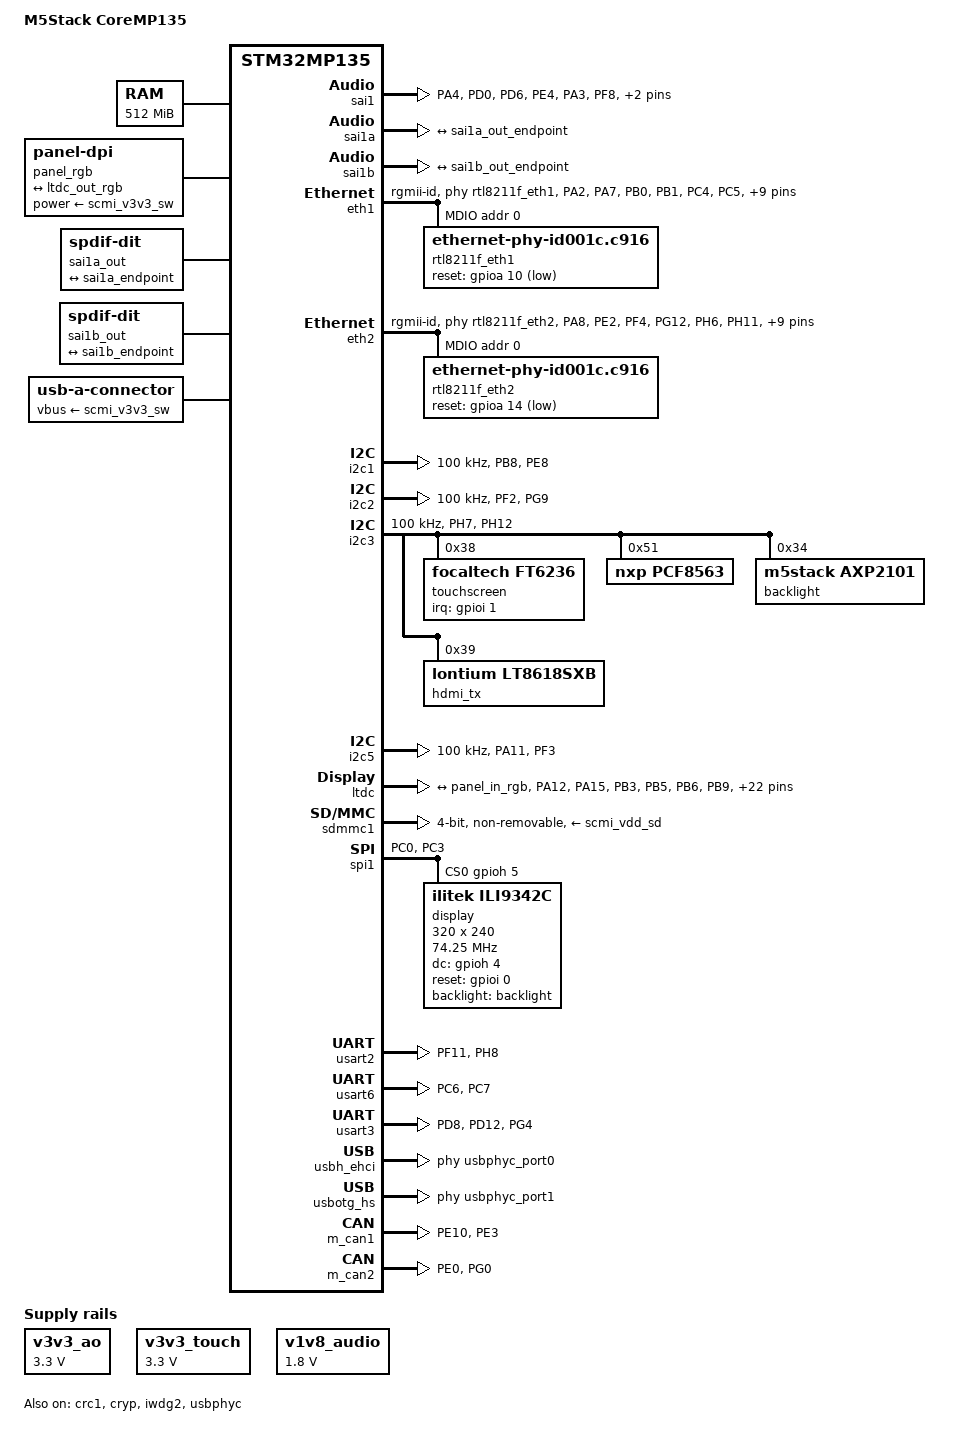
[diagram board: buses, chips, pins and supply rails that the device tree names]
// SPDX-License-Identifier: (GPL-2.0+ OR BSD-3-Clause)
/*
 * Copyright (C) STMicroelectronics 2021 - All Rights Reserved
 * Author: Alexandre Torgue <alexandre.torgue@foss.st.com> for STMicroelectronics.
 */

/dts-v1/;

#include <dt-bindings/gpio/gpio.h>
#include <dt-bindings/input/input.h>
#include <dt-bindings/leds/common.h>
#include <dt-bindings/regulator/st,stm32mp13-regulator.h>
#include "stm32mp135.dtsi"
#include "stm32mp13xf.dtsi"
#include "stm32mp13-pinctrl.dtsi"

/ {
	model = "M5Stack CoreMP135";
	compatible = "st,stm32mp135f-dk", "st,stm32mp135";

	aliases {
		ethernet0 = &eth1;
		ethernet1 = &eth2;
		serial0 = &usart2; // internal uart
		serial1 = &usart6; // grove port c
		serial2 = &usart3; // rs485

		i2c0 = &i2c3;
		i2c1 = &i2c5;

		i2c2 = &i2c1;
		i2c3 = &i2c2;
	};

	chosen {
		stdout-path = "serial0:115200n8";
		#address-cells = <1>;
		#size-cells = <1>;
		ranges;
	};

	clocks {
	};

	memory@c0000000 {
		device_type = "memory";
		reg = <0xc0000000 0x20000000>;
	};

	reserved-memory {
		#address-cells = <1>;
		#size-cells = <1>;
		ranges;

		optee@dd000000 {
			reg = <0xdd000000 0x3000000>;
			no-map;
		};
	};

	panel_rgb: panel-rgb {
		compatible = "panel-dpi";
		power-supply = <&scmi_v3v3_sw>;
		data-mapping = "rgb24";
		status = "okay";
		// 1920×1080
		width-mm = <320>;
		height-mm = <180>;

		power-domains = <&hdmi_tx>;
		power-domain-names = "hdmi_tx";

		port {
			panel_in_rgb: endpoint {
				remote-endpoint = <&ltdc_out_rgb>;
			};
		};

		// CEA-861: https://tomverbeure.github.io/video_timings_calculator
		panel-timing {
			clock-frequency = <74250000>;
			hactive = <1280>;
			vactive = <720>;
			hsync-len = <40>;
			hfront-porch = <110>;
			hback-porch = <220>;
			vsync-len = <5>;
			vfront-porch = <5>;
			vback-porch = <20>;

			hsync-active = <1>;
			vsync-active = <1>;

			de-active = <1>;
			pixelclk-active = <1>;
		};
	};

	v3v3_ao: v3v3-ao {
		compatible = "regulator-fixed";
		regulator-name = "v3v3_ao";
		regulator-min-microvolt = <3300000>;
		regulator-max-microvolt = <3300000>;
		regulator-always-on;
	};

	v3v3_touch: v3v3_touch {
		compatible = "regulator-fixed";
		regulator-name = "v3v3";
		regulator-min-microvolt = <3300000>;
		regulator-max-microvolt = <3300000>;
		regulator-always-on;
	};

	v1v8_audio: regulator-v1v8_audio {
		compatible = "regulator-fixed";
		regulator-name = "v1v8_audio";
		regulator-min-microvolt = <1800000>;
		regulator-max-microvolt = <1800000>;
		regulator-always-on;
		regulator-boot-on;
	};

	sai1a_sound {
		compatible = "audio-graph-card";
		label = "Internal Speaker";
		dais = <&sai1a_port>;
	};

	sai1b_sound {
		compatible = "audio-graph-card";
		label = "HDMI Audio";
		dais = <&sai1b_port>;
	};

	sai1a_out: spdif-out0 {
		compatible = "linux,spdif-dit";

		sai1a_out_port: port@0 {
			sai1a_out_endpoint: endpoint {
				remote-endpoint = <&sai1a_endpoint>;
			};
		};
	};

	sai1b_out: spdif-out1 {
		compatible = "linux,spdif-dit";

		sai1b_out_port: port@0 {
			sai1b_out_endpoint: endpoint {
				remote-endpoint = <&sai1b_endpoint>;
			};
		};
	};
};

&sai1 {
	clocks = <&rcc SAI1>, <&scmi_clk CK_SCMI_PLL3_Q>, <&scmi_clk CK_SCMI_PLL3_R>;
	clock-names = "pclk", "x8k", "x11k";

	assigned-clock-rates = <24576000>;

	pinctrl-names = "default", "sleep";
	pinctrl-0 = <&sai1a_pins_mx>, <&sai1b_pins_mx>;
	pinctrl-1 = <&sai1a_sleep_pins_mx>, <&sai1b_sleep_pins_mx>;
	status = "okay";
};

&sai1a {
	#clock-cells = <0>;
	dma-names = "tx";
	status = "okay";

	sai1a_port: port@0 {
		sai1a_endpoint: endpoint {
			format = "i2s";
			remote-endpoint = <&sai1a_out_endpoint>;
		};
	};
};

&sai1b {
	#clock-cells = <0>;
	dma-names = "tx";
	status = "okay";

	sai1b_port: port@0 {
		sai1b_endpoint: endpoint {
			format = "i2s";
			remote-endpoint = <&sai1b_out_endpoint>;
		};
	};
};

&crc1 {
	status = "okay";
};

&cryp {
	status = "okay";
};

&eth1 {
	status = "okay";
	pinctrl-0 = <&eth1_pins_mx>;
	pinctrl-1 = <&eth1_sleep_pins_mx>;
	pinctrl-names = "default", "sleep";
	phy-mode = "rgmii-id";
	max-speed = <1000>;
	nvmem-cells = <&ethernet_mac1_address>;
	nvmem-cell-names = "mac-address";
	phy-handle = <&rtl8211f_eth1>;

	mdio1 {
		#address-cells = <1>;
		#size-cells = <0>;
		compatible = "snps,dwmac-mdio";
		rtl8211f_eth1: ethernet-phy@0 {
			compatible = "ethernet-phy-id001c.c916";
			reg = <0>;
			reset-assert-us = <10000>;
			reset-deassert-us = <30000>;
			reset-gpios = <&gpioa 10 GPIO_ACTIVE_LOW>;
		};
	};
};

&eth2 {
	status = "okay";
	pinctrl-0 = <&eth2_pins_mx>;
	pinctrl-1 = <&eth2_sleep_pins_mx>;
	pinctrl-names = "default", "sleep";
	phy-mode = "rgmii-id";
	max-speed = <1000>;
	phy-handle = <&rtl8211f_eth2>;
	nvmem-cells = <&ethernet_mac2_address>;
	nvmem-cell-names = "mac-address";

	mdio1 {
		#address-cells = <1>;
		#size-cells = <0>;
		compatible = "snps,dwmac-mdio";

		rtl8211f_eth2: ethernet-phy@0 {
			compatible = "ethernet-phy-id001c.c916";
			reg = <0>;
			reset-assert-us = <10000>;
			reset-deassert-us = <30000>;
			reset-gpios = <&gpioa 14 GPIO_ACTIVE_LOW>;
		};
	};
};

// bus i2c1
&i2c1 {
	pinctrl-names = "default", "sleep";
	pinctrl-0 = <&i2c1_pins_mx>;
	pinctrl-1 = <&i2c1_sleep_pins_mx>;
	// i2c-scl-rising-time-ns = <96>;
	// i2c-scl-falling-time-ns = <3>;
	clock-frequency = <100000>;
	status = "okay";
	/* spare dmas for other usage */
	/delete-property/dmas;
	/delete-property/dma-names;
};

// bus i2c2
&i2c2 {
	pinctrl-names = "default", "sleep";
	pinctrl-0 = <&i2c2_pins_mx>;
	pinctrl-1 = <&i2c2_sleep_pins_mx>;
	clock-frequency = <100000>;
	status = "okay";

	/* spare dmas for other usage */
	/delete-property/dmas;
	/delete-property/dma-names;

};

// interior i2c
&i2c3 {
	pinctrl-names = "default", "sleep";
	pinctrl-0 = <&i2c3_pins_mx>;
	pinctrl-1 = <&i2c3_sleep_pins_mx>;
	clock-frequency = <100000>;
	status = "okay";
	// /* spare dmas for other usage */
	/delete-property/dmas;
	/delete-property/dma-names;
	touchscreen@38 {
			compatible = "focaltech,ft6236";
			reg = <0x38>;
			interrupt-parent = <&gpioi>;
			interrupts = <1 IRQ_TYPE_EDGE_FALLING>;
			touchscreen-size-x = <240>;
			touchscreen-size-y = <320>;
			status = "okay";
	};

	pcf8563@51 {
		compatible = "nxp,pcf8563";
		reg = <0x51>;
		status = "okay";
	};

	backlight@34 {
		compatible = "m5stack,axp2101";
		reg = <0x34>;
		status = "okay";
	};

	hdmi_tx: lt8618sxb@39 {
		#power-domain-cells = <0>;
		compatible = "lontium,lt8618sxb";
		reg = <0x39>;
		status = "okay";
	};
};

//enclosure i2c
&i2c5 {
	pinctrl-names = "default", "sleep";
	pinctrl-0 = <&i2c5_pins_mx>;
	pinctrl-1 = <&i2c5_sleep_pins_mx>;
	clock-frequency = <100000>;
	status = "okay";
	/* spare dmas for other usage */
	/delete-property/dmas;
	/delete-property/dma-names;
};

&iwdg2 {
	timeout-sec = <32>;
	status = "okay";
};

&ltdc {
	pinctrl-names = "default", "sleep";
	pinctrl-0 = <&ltdc_pins_mx>;
	pinctrl-1 = <&ltdc_sleep_pins_mx>;
	status = "okay";

	port {
		#address-cells = <1>;
		#size-cells = <0>;

		ltdc_out_rgb: endpoint@0 {
			reg = <0>;
			remote-endpoint = <&panel_in_rgb>;
		};
	};
};

&scmi_regu {
	scmi_vdd_usb: voltd-vdd-usb {
		reg = <VOLTD_SCMI_STPMIC1_LDO4>;
		regulator-name = "vdd_usb";
	};
	scmi_vdd_sd: voltd-vdd-sd {
		reg = <VOLTD_SCMI_STPMIC1_LDO5>;
		regulator-name = "vdd_sd";
	};
	scmi_v3v3_sw: voltd-v3v3-sw {
		reg = <VOLTD_SCMI_STPMIC1_PWR_SW2>;
		regulator-name = "v3v3_sw";
	};
};

&sdmmc1 {
	pinctrl-names = "default", "opendrain", "sleep";
	pinctrl-0 = <&sdmmc1_b4_pins_a &sdmmc1_clk_pins_a>;
	pinctrl-1 = <&sdmmc1_b4_od_pins_a &sdmmc1_clk_pins_a>;
	pinctrl-2 = <&sdmmc1_b4_sleep_pins_a>;
	non-removable;
	disable-wp;
	st,neg-edge;
	bus-width = <4>;
	vmmc-supply = <&scmi_vdd_sd>;
	status = "okay";
};

&spi1 {
	pinctrl-names = "default", "sleep";
	pinctrl-0 = <&spi1_pins_mx>;
	pinctrl-1 = <&spi1_sleep_pins_mx>;
	num-cs = <1>;
	cs-gpios = <&gpioh 5 GPIO_ACTIVE_HIGH>;
	status = "okay";

	display@0 {
		compatible = "ilitek,ili9342c";
		reg = <0>;
		dc-gpios = <&gpioh 4 GPIO_ACTIVE_HIGH>;
		reset-gpios = <&gpioi 0 GPIO_ACTIVE_HIGH>;
		spi-max-frequency = <74250000>;

		rotate = <0>;
		buswidth = <8>;
		width = <320>;
		height = <240>;

		backlight = <&backlight>;

		status = "okay";
	};
};

// internal uart
&usart2 {
	pinctrl-names = "default", "sleep";
	pinctrl-0 = <&usart2_pins_mx>;
	pinctrl-1 = <&usart2_sleep_pins_mx>;
	status = "okay";
};

// grove port c
&usart6 {
	pinctrl-names = "default", "sleep";
	pinctrl-0 = <&usart6_pins_mx>;
	pinctrl-1 = <&usart6_sleep_pins_mx>;
	/delete-property/dmas;
	/delete-property/dma-names;
	rx-tx-swap;
	status = "okay";
};

// rs485
&usart3 {
	/delete-property/dmas;
	/delete-property/dma-names;
	pinctrl-names = "default", "sleep";
	pinctrl-0 = <&usart3_pins_mx>;
	pinctrl-1 = <&usart3_sleep_pins_mx>;
	rts-gpios;
	linux,rs485-enabled-at-boot-time;
	status = "okay";
};

&usbh_ehci {
	phys = <&usbphyc_port0>;
	status = "okay";
};

&usbotg_hs {
	phys = <&usbphyc_port1 0>;
	phy-names = "usb2-phy";
	usb-role-switch;
	status = "okay";
};

&usbphyc {
	status = "okay";
};

&usbphyc_port0 {
	phy-supply = <&scmi_vdd_usb>;
	st,current-boost-microamp = <1000>;
	st,decrease-hs-slew-rate;
	st,tune-hs-dc-level = <2>;
	st,enable-hs-rftime-reduction;
	st,trim-hs-current = <11>;
	st,trim-hs-impedance = <2>;
	st,tune-squelch-level = <1>;
	st,enable-hs-rx-gain-eq;
	st,no-hs-ftime-ctrl;
	st,no-lsfs-sc;

	/*
	 * Hack to keep hub active if wakeup source is enabled
	 * otherwise the hub will wakeup the port0 as soon as the v3v3_sw is disabled
	 */
	connector {
		compatible = "usb-a-connector";
		vbus-supply = <&scmi_v3v3_sw>;
	};
};

&usbphyc_port1 {
	phy-supply = <&scmi_vdd_usb>;
	st,current-boost-microamp = <1000>;
	st,decrease-hs-slew-rate;
	st,tune-hs-dc-level = <2>;
	st,enable-hs-rftime-reduction;
	st,trim-hs-current = <11>;
	st,trim-hs-impedance = <2>;
	st,tune-squelch-level = <1>;
	st,enable-hs-rx-gain-eq;
	st,no-hs-ftime-ctrl;
	st,no-lsfs-sc;
};

&m_can1 {
	pinctrl-names = "default", "sleep";
	pinctrl-0 = <&fdcan1_pins_mx>;
	pinctrl-1 = <&fdcan1_sleep_pins_mx>;
	status = "okay";
};

&m_can2 {
	pinctrl-names = "default", "sleep";
	pinctrl-0 = <&fdcan2_pins_mx>;
	pinctrl-1 = <&fdcan2_sleep_pins_mx>;
	status = "okay";
};

&pinctrl {
	eth1_pins_mx: eth1_mx-0 {
		pins1 {
			pinmux = <STM32_PINMUX('A', 2, AF11)>; /* ETH1_MDIO */
			bias-disable;
			drive-push-pull;
			slew-rate = <0>;
		};
		pins2 {
			pinmux = <STM32_PINMUX('A', 7, AF11)>, /* ETH1_RX_CTL */
					 <STM32_PINMUX('B', 0, AF11)>, /* ETH1_RXD2 */
					 <STM32_PINMUX('B', 1, AF11)>, /* ETH1_RXD3 */
					 <STM32_PINMUX('C', 4, AF11)>, /* ETH1_RXD0 */
					 <STM32_PINMUX('C', 5, AF11)>, /* ETH1_RXD1 */
					 <STM32_PINMUX('D', 7, AF10)>; /* ETH1_RX_CLK */
			bias-disable;
		};
		pins3 {
			pinmux = <STM32_PINMUX('B', 11, AF11)>, /* ETH1_TX_CTL */
					 <STM32_PINMUX('C', 1, AF11)>, /* ETH1_GTX_CLK */
					 <STM32_PINMUX('C', 2, AF11)>, /* ETH1_TXD2 */
					 <STM32_PINMUX('E', 5, AF10)>, /* ETH1_TXD3 */
					 <STM32_PINMUX('G', 2, AF11)>, /* ETH1_MDC */
					 <STM32_PINMUX('F', 12, AF11)>, /* ETH1_CLK125 */
					 <STM32_PINMUX('G', 13, AF11)>, /* ETH1_TXD0 */
					 <STM32_PINMUX('G', 14, AF11)>; /* ETH1_TXD1 */
			bias-disable;
			drive-push-pull;
			slew-rate = <2>;
		};
	};

	eth1_sleep_pins_mx: eth1_sleep_mx-0 {
		pins {
			pinmux = <STM32_PINMUX('A', 2, ANALOG)>, /* ETH1_MDIO */
					 <STM32_PINMUX('A', 7, ANALOG)>, /* ETH1_RX_CTL */
					 <STM32_PINMUX('B', 0, ANALOG)>, /* ETH1_RXD2 */
					 <STM32_PINMUX('B', 1, ANALOG)>, /* ETH1_RXD3 */
					 <STM32_PINMUX('B', 11, ANALOG)>, /* ETH1_TX_CTL */
					 <STM32_PINMUX('C', 1, ANALOG)>, /* ETH1_GTX_CLK */
					 <STM32_PINMUX('C', 2, ANALOG)>, /* ETH1_TXD2 */
					 <STM32_PINMUX('C', 4, ANALOG)>, /* ETH1_RXD0 */
					 <STM32_PINMUX('C', 5, ANALOG)>, /* ETH1_RXD1 */
					 <STM32_PINMUX('D', 7, ANALOG)>, /* ETH1_RX_CLK */
					 <STM32_PINMUX('E', 5, ANALOG)>, /* ETH1_TXD3 */
					 <STM32_PINMUX('G', 2, ANALOG)>, /* ETH1_MDC */
					 <STM32_PINMUX('F', 12, ANALOG)>, /* ETH1_CLK125 */
					 <STM32_PINMUX('G', 13, ANALOG)>, /* ETH1_TXD0 */
					 <STM32_PINMUX('G', 14, ANALOG)>; /* ETH1_TXD1 */
		};
	};

	eth2_pins_mx: eth2_mx-0 {
		pins1 {
			pinmux = <STM32_PINMUX('A', 8, AF11)>, /* ETH2_RXD3 */
					 <STM32_PINMUX('E', 2, AF10)>, /* ETH2_RXD1 */
					 <STM32_PINMUX('F', 4, AF11)>, /* ETH2_RXD0 */
					 <STM32_PINMUX('G', 12, AF12)>, /* ETH2_RX_CTL */
					 <STM32_PINMUX('H', 6, AF12)>, /* ETH2_RXD2 */
					 <STM32_PINMUX('H', 11, AF11)>; /* ETH2_RX_CLK */
			bias-disable;
		};
		pins2 {
			pinmux = <STM32_PINMUX('B', 2, AF11)>; /* ETH2_MDIO */
			bias-disable;
			drive-push-pull;
			slew-rate = <0>;
		};
		pins3 {
			pinmux = <STM32_PINMUX('E', 6, AF11)>, /* ETH2_TXD3 */
					 <STM32_PINMUX('F', 6, AF11)>, /* ETH2_TX_CTL */
					 <STM32_PINMUX('F', 7, AF11)>, /* ETH2_TXD0 */
					 <STM32_PINMUX('G', 1, AF10)>, /* ETH2_TXD2 */
					 <STM32_PINMUX('G', 3, AF10)>, /* ETH2_GTX_CLK */
					 <STM32_PINMUX('G', 5, AF10)>, /* ETH2_MDC */
					 <STM32_PINMUX('G', 11, AF10)>, /* ETH2_TXD1 */
					 <STM32_PINMUX('H', 2, AF13)>; /* ETH2_CLK125 */
			bias-disable;
			drive-push-pull;
			slew-rate = <2>;
		};
	};

	eth2_sleep_pins_mx: eth2_sleep_mx-0 {
		pins {
			pinmux = <STM32_PINMUX('A', 8, ANALOG)>, /* ETH2_RXD3 */
					 <STM32_PINMUX('B', 2, ANALOG)>, /* ETH2_MDIO */
					 <STM32_PINMUX('E', 2, ANALOG)>, /* ETH2_RXD1 */
					 <STM32_PINMUX('E', 6, ANALOG)>, /* ETH2_TXD3 */
					 <STM32_PINMUX('F', 4, ANALOG)>, /* ETH2_RXD0 */
					 <STM32_PINMUX('F', 6, ANALOG)>, /* ETH2_TX_CTL */
					 <STM32_PINMUX('F', 7, ANALOG)>, /* ETH2_TXD0 */
					 <STM32_PINMUX('G', 1, ANALOG)>, /* ETH2_TXD2 */
					 <STM32_PINMUX('G', 3, ANALOG)>, /* ETH2_GTX_CLK */
					 <STM32_PINMUX('G', 5, ANALOG)>, /* ETH2_MDC */
					 <STM32_PINMUX('H', 2, ANALOG)>, /* ETH2_CLK125 */
					 <STM32_PINMUX('G', 11, ANALOG)>, /* ETH2_TXD1 */
					 <STM32_PINMUX('G', 12, ANALOG)>, /* ETH2_RX_CTL */
					 <STM32_PINMUX('H', 6, ANALOG)>, /* ETH2_RXD2 */
					 <STM32_PINMUX('H', 11, ANALOG)>; /* ETH2_RX_CLK */
		};
	};

	fdcan1_pins_mx: fdcan1_mx-0 {
		pins1 {
			pinmux = <STM32_PINMUX('E', 10, AF9)>; /* FDCAN1_TX */
			bias-disable;
			drive-push-pull;
			slew-rate = <0>;
		};
		pins2 {
			pinmux = <STM32_PINMUX('E', 3, AF9)>; /* FDCAN1_RX */
			bias-disable;
		};
	};

	fdcan1_sleep_pins_mx: fdcan1_sleep_mx-0 {
		pins {
			pinmux = <STM32_PINMUX('E', 3, ANALOG)>, /* FDCAN1_RX */
					 <STM32_PINMUX('E', 10, ANALOG)>; /* FDCAN1_TX */
		};
	};

	fdcan2_pins_mx: fdcan2_mx-0 {
		pins1 {
			pinmux = <STM32_PINMUX('E', 0, AF9)>; /* FDCAN2_RX */
			bias-disable;
		};
		pins2 {
			pinmux = <STM32_PINMUX('G', 0, AF9)>; /* FDCAN2_TX */
			bias-disable;
			drive-push-pull;
			slew-rate = <0>;
		};
	};

	fdcan2_sleep_pins_mx: fdcan2_sleep_mx-0 {
		pins {
			pinmux = <STM32_PINMUX('E', 0, ANALOG)>, /* FDCAN2_RX */
					 <STM32_PINMUX('G', 0, ANALOG)>; /* FDCAN2_TX */
		};
	};

	i2c1_pins_mx: i2c1_mx-0 {
		pins {
			pinmux = <STM32_PINMUX('B', 8, AF4)>, /* I2C1_SCL */
					 <STM32_PINMUX('E', 8, AF5)>; /* I2C1_SDA */
			bias-disable;
			drive-open-drain;
			slew-rate = <0>;
		};
	};

	i2c1_sleep_pins_mx: i2c1_sleep_mx-0 {
		pins {
			pinmux = <STM32_PINMUX('B', 8, ANALOG)>, /* I2C1_SCL */
					 <STM32_PINMUX('E', 8, ANALOG)>; /* I2C1_SDA */
		};
	};

	i2c2_pins_mx: i2c2_mx-0 {
		pins {
			pinmux = <STM32_PINMUX('F', 2, AF4)>, /* I2C2_SCL */
					 <STM32_PINMUX('G', 9, AF4)>; /* I2C2_SDA */
			bias-disable;
			drive-open-drain;
			slew-rate = <0>;
		};
	};

	i2c2_sleep_pins_mx: i2c2_sleep_mx-0 {
		pins {
			pinmux = <STM32_PINMUX('F', 2, ANALOG)>, /* I2C2_SCL */
					 <STM32_PINMUX('G', 9, ANALOG)>; /* I2C2_SDA */
		};
	};

	i2c3_pins_mx: i2c3_mx-0 {
		pins {
			pinmux = <STM32_PINMUX('H', 7, AF5)>, /* I2C3_SDA */
					 <STM32_PINMUX('H', 12, AF4)>; /* I2C3_SCL */
			bias-disable;
			drive-open-drain;
			slew-rate = <0>;
		};
	};

	i2c3_sleep_pins_mx: i2c3_sleep_mx-0 {
		pins {
			pinmux = <STM32_PINMUX('H', 7, ANALOG)>, /* I2C3_SDA */
					 <STM32_PINMUX('H', 12, ANALOG)>; /* I2C3_SCL */
		};
	};

	i2c5_pins_mx: i2c5_mx-0 {
		pins {
			pinmux = <STM32_PINMUX('A', 11, AF4)>, /* I2C5_SCL */
					 <STM32_PINMUX('F', 3, AF4)>; /* I2C5_SDA */
			bias-disable;
			drive-open-drain;
			slew-rate = <0>;
		};
	};

	i2c5_sleep_pins_mx: i2c5_sleep_mx-0 {
		pins {
			pinmux = <STM32_PINMUX('A', 11, ANALOG)>, /* I2C5_SCL */
					 <STM32_PINMUX('F', 3, ANALOG)>; /* I2C5_SDA */
		};
	};

	sai1a_pins_mx: sai1a_mx-0 {
		pins {
			pinmux = <STM32_PINMUX('A', 4, AF12)>, /* SAI1_SCK_A */
					 <STM32_PINMUX('D', 0, AF2)>, /* SAI1_MCLK_A */
					 <STM32_PINMUX('D', 6, AF6)>, /* SAI1_SD_A */
					 <STM32_PINMUX('E', 4, AF6)>; /* SAI1_FS_A */
			bias-disable;
			drive-push-pull;
			slew-rate = <0>;
		};
	};

	sai1a_sleep_pins_mx: sai1a_sleep_mx-0 {
		pins {
			pinmux = <STM32_PINMUX('A', 4, ANALOG)>, /* SAI1_SCK_A */
					 <STM32_PINMUX('D', 0, ANALOG)>, /* SAI1_MCLK_A */
					 <STM32_PINMUX('D', 6, ANALOG)>, /* SAI1_SD_A */
					 <STM32_PINMUX('E', 4, ANALOG)>; /* SAI1_FS_A */
		};
	};

	sai1b_pins_mx: sai1b_mx-0 {
		pins {
			pinmux = <STM32_PINMUX('A', 3, AF6)>, /* SAI1_FS_B */
					 <STM32_PINMUX('F', 8, AF6)>, /* SAI1_SCK_B */
					 <STM32_PINMUX('F', 13, AF2)>, /* SAI1_MCLK_B */
					 <STM32_PINMUX('G', 10, AF6)>; /* SAI1_SD_B */
			bias-disable;
			drive-push-pull;
			slew-rate = <0>;
		};
	};

	sai1b_sleep_pins_mx: sai1b_sleep_mx-0 {
		pins {
			pinmux = <STM32_PINMUX('A', 3, ANALOG)>, /* SAI1_FS_B */
					 <STM32_PINMUX('F', 8, ANALOG)>, /* SAI1_SCK_B */
					 <STM32_PINMUX('F', 13, ANALOG)>, /* SAI1_MCLK_B */
					 <STM32_PINMUX('G', 10, ANALOG)>; /* SAI1_SD_B */
		};
	};

	spi1_pins_mx: spi1_mx-0 {
		pins {
			pinmux = <STM32_PINMUX('C', 0, AF6)>, /* SPI1_MOSI */
					 <STM32_PINMUX('C', 3, AF6)>; /* SPI1_SCK */
			bias-disable;
			drive-push-pull;
			slew-rate = <1>;
		};
	};

	spi1_sleep_pins_mx: spi1_sleep_mx-0 {
		pins {
			pinmux = <STM32_PINMUX('C', 0, ANALOG)>, /* SPI1_MOSI */
					 <STM32_PINMUX('C', 3, ANALOG)>; /* SPI1_SCK */
		};
	};

	usart2_pins_mx: usart2_mx-0 {
		pins1 {
			pinmux = <STM32_PINMUX('F', 11, AF1)>; /* USART2_TX */
			bias-disable;
			drive-push-pull;
			slew-rate = <0>;
		};
		pins2 {
			pinmux = <STM32_PINMUX('H', 8, AF3)>; /* USART2_RX */
			bias-disable;
		};
	};

	usart2_sleep_pins_mx: usart2_sleep_mx-0 {
		pins {
			pinmux = <STM32_PINMUX('F', 11, ANALOG)>, /* USART2_TX */
					 <STM32_PINMUX('H', 8, ANALOG)>; /* USART2_RX */
		};
	};

	usart3_pins_mx: usart3_mx-0 {
		pins1 {
			pinmux = <STM32_PINMUX('D', 8, AF7)>, /* USART3_TX */
					 <STM32_PINMUX('D', 12, AF7)>; /* USART3_DE */
			bias-disable;
			drive-push-pull;
			slew-rate = <0>;
		};
		pins2 {
			pinmux = <STM32_PINMUX('G', 4, AF8)>; /* USART3_RX */
			bias-disable;
		};
	};

	usart3_sleep_pins_mx: usart3_sleep_mx-0 {
		pins {
			pinmux = <STM32_PINMUX('D', 8, ANALOG)>, /* USART3_TX */
					 <STM32_PINMUX('D', 12, ANALOG)>, /* USART3_DE */
					 <STM32_PINMUX('G', 4, ANALOG)>; /* USART3_RX */
		};
	};

	usart6_pins_mx: usart6_mx-0 {
		pins1 {
			pinmux = <STM32_PINMUX('C', 6, AF7)>; /* USART6_TX */
			bias-pull-up;
		};
		pins2 {
			pinmux = <STM32_PINMUX('C', 7, AF7)>; /* USART6_RX */
			bias-disable;
			drive-push-pull;
			slew-rate = <0>;
		};
	};

	usart6_sleep_pins_mx: usart6_sleep_mx-0 {
		pins {
			pinmux = <STM32_PINMUX('C', 6, ANALOG)>, /* USART6_TX */
					 <STM32_PINMUX('C', 7, ANALOG)>; /* USART6_RX */
		};
	};

	ltdc_pins_mx: ltdc_mx-0 {
		pins1 {
			pinmux = <STM32_PINMUX('A', 12, AF14)>, /* LTDC_G6 */
					 <STM32_PINMUX('A', 15, AF11)>, /* LTDC_G7 */
					 <STM32_PINMUX('B', 3, AF14)>, /* LTDC_B2 */
					 <STM32_PINMUX('B', 5, AF13)>, /* LTDC_B6 */
					 <STM32_PINMUX('B', 6, AF14)>, /* LTDC_B7 */
					 <STM32_PINMUX('B', 9, AF14)>, /* LTDC_B1 */
					 <STM32_PINMUX('B', 12, AF13)>, /* LTDC_R3 */
					 <STM32_PINMUX('B', 14, AF13)>, /* LTDC_R0 */
					 <STM32_PINMUX('D', 1, AF14)>, /* LTDC_G2 */
					 <STM32_PINMUX('D', 4, AF11)>, /* LTDC_R1 */
					 <STM32_PINMUX('D', 5, AF13)>, /* LTDC_B0 */
					 <STM32_PINMUX('D', 9, AF11)>, /* LTDC_B5 */
					 <STM32_PINMUX('D', 10, AF9)>, /* LTDC_G5 */
					 <STM32_PINMUX('D', 13, AF14)>, /* LTDC_G4 */
					 <STM32_PINMUX('E', 1, AF11)>, /* LTDC_R4 */
					 <STM32_PINMUX('E', 7, AF14)>, /* LTDC_R5 */
					 <STM32_PINMUX('E', 12, AF9)>, /* LTDC_VSYNC */
					 <STM32_PINMUX('F', 0, AF13)>, /* LTDC_R6 */
					 <STM32_PINMUX('F', 1, AF14)>, /* LTDC_G1 */
					 <STM32_PINMUX('F', 5, AF9)>, /* LTDC_G0 */
					 <STM32_PINMUX('G', 6, AF14)>, /* LTDC_R7 */
					 <STM32_PINMUX('G', 7, AF14)>, /* LTDC_R2 */
					 <STM32_PINMUX('G', 15, AF14)>, /* LTDC_B3 */
					 <STM32_PINMUX('H', 9, AF11)>, /* LTDC_DE */
					 <STM32_PINMUX('H', 10, AF13)>, /* LTDC_HSYNC */
					 <STM32_PINMUX('H', 13, AF13)>, /* LTDC_G3 */
					 <STM32_PINMUX('H', 14, AF11)>; /* LTDC_B4 */
			bias-disable;
			drive-push-pull;
			slew-rate = <0>;
		};
		pins2 {
			pinmux = <STM32_PINMUX('B', 15, AF13)>; /* LTDC_CLK */
			bias-disable;
			drive-push-pull;
			slew-rate = <1>;
		};
	};

	ltdc_sleep_pins_mx: ltdc_sleep_mx-0 {
		pins {
			pinmux = <STM32_PINMUX('A', 12, ANALOG)>, /* LTDC_G6 */
					 <STM32_PINMUX('A', 15, ANALOG)>, /* LTDC_G7 */
					 <STM32_PINMUX('B', 3, ANALOG)>, /* LTDC_B2 */
					 <STM32_PINMUX('B', 5, ANALOG)>, /* LTDC_B6 */
					 <STM32_PINMUX('B', 6, ANALOG)>, /* LTDC_B7 */
					 <STM32_PINMUX('B', 9, ANALOG)>, /* LTDC_B1 */
					 <STM32_PINMUX('B', 12, ANALOG)>, /* LTDC_R3 */
					 <STM32_PINMUX('B', 14, ANALOG)>, /* LTDC_R0 */
					 <STM32_PINMUX('B', 15, ANALOG)>, /* LTDC_CLK */
					 <STM32_PINMUX('D', 1, ANALOG)>, /* LTDC_G2 */
					 <STM32_PINMUX('D', 4, ANALOG)>, /* LTDC_R1 */
					 <STM32_PINMUX('D', 5, ANALOG)>, /* LTDC_B0 */
					 <STM32_PINMUX('D', 9, ANALOG)>, /* LTDC_B5 */
					 <STM32_PINMUX('D', 10, ANALOG)>, /* LTDC_G5 */
					 <STM32_PINMUX('D', 13, ANALOG)>, /* LTDC_G4 */
					 <STM32_PINMUX('E', 1, ANALOG)>, /* LTDC_R4 */
					 <STM32_PINMUX('E', 7, ANALOG)>, /* LTDC_R5 */
					 <STM32_PINMUX('E', 12, ANALOG)>, /* LTDC_VSYNC */
					 <STM32_PINMUX('F', 0, ANALOG)>, /* LTDC_R6 */
					 <STM32_PINMUX('F', 1, ANALOG)>, /* LTDC_G1 */
					 <STM32_PINMUX('F', 5, ANALOG)>, /* LTDC_G0 */
					 <STM32_PINMUX('G', 6, ANALOG)>, /* LTDC_R7 */
					 <STM32_PINMUX('G', 7, ANALOG)>, /* LTDC_R2 */
					 <STM32_PINMUX('G', 15, ANALOG)>, /* LTDC_B3 */
					 <STM32_PINMUX('H', 9, ANALOG)>, /* LTDC_DE */
					 <STM32_PINMUX('H', 10, ANALOG)>, /* LTDC_HSYNC */
					 <STM32_PINMUX('H', 13, ANALOG)>, /* LTDC_G3 */
					 <STM32_PINMUX('H', 14, ANALOG)>; /* LTDC_B4 */
		};
	};
};
